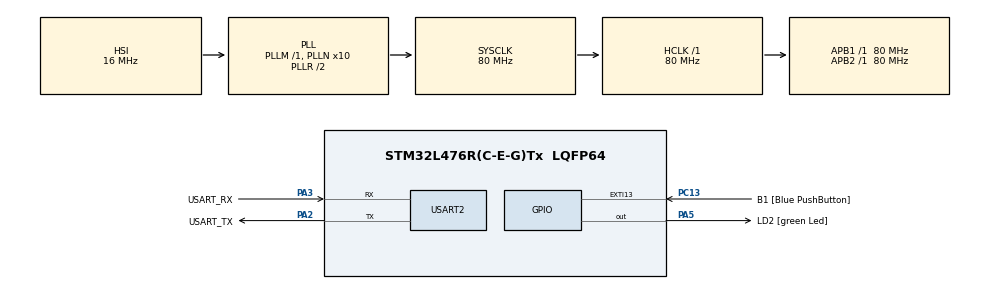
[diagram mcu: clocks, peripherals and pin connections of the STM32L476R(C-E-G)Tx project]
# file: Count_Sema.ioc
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FREERTOS.Tasks01=defaultTask,0,128,StartDefaultTask,Default,NULL,Dynamic,NULL,NULL
FREERTOS.configUSE_COUNTING_SEMAPHORES=1
FREERTOS.configUSE_NEWLIB_REENTRANT=1
FREERTOS.configUSE_RECURSIVE_MUTEXES=1
Mcu.Family=STM32L4
Mcu.Name=STM32L476R(C-E-G)Tx
Mcu.Package=LQFP64
NVIC.PriorityGroup=NVIC_PRIORITYGROUP_4
NVIC.TIM1_UP_TIM16_IRQn=true\:15\:0\:false\:false\:true\:false\:false\:true\:true
NVIC.TimeBase=TIM1_UP_TIM16_IRQn
NVIC.TimeBaseIP=TIM1
NVIC.USART2_IRQn=true\:5\:0\:false\:false\:true\:true\:true\:true\:true
PA13\ (JTMS-SWDIO).GPIO_Label=TMS
PA13\ (JTMS-SWDIO).Mode=Serial_Wire
PA13\ (JTMS-SWDIO).Signal=SYS_JTMS-SWDIO
PA14\ (JTCK-SWCLK).GPIO_Label=TCK
PA14\ (JTCK-SWCLK).Mode=Serial_Wire
PA14\ (JTCK-SWCLK).Signal=SYS_JTCK-SWCLK
PA2.GPIO_Label=USART_TX
PA2.GPIO_Mode=GPIO_MODE_AF_PP
PA2.GPIO_PuPd=GPIO_NOPULL
PA2.GPIO_Speed=GPIO_SPEED_FREQ_VERY_HIGH
PA2.Mode=Asynchronous
PA2.Signal=USART2_TX
PA3.GPIO_Label=USART_RX
PA3.GPIO_Mode=GPIO_MODE_AF_PP
PA3.GPIO_PuPd=GPIO_NOPULL
PA3.GPIO_Speed=GPIO_SPEED_FREQ_VERY_HIGH
PA3.Mode=Asynchronous
PA3.Signal=USART2_RX
PA5.GPIO_Label=LD2 [green Led]
PA5.GPIO_ModeDefaultOutputPP=GPIO_MODE_OUTPUT_PP
PA5.GPIO_PuPd=GPIO_NOPULL
PA5.GPIO_Speed=GPIO_SPEED_FREQ_LOW
PA5.Signal=GPIO_Output
PB3\ (JTDO-TRACESWO).GPIO_Label=SWO
PB3\ (JTDO-TRACESWO).Signal=SYS_JTDO-SWO
PC13.GPIO_Label=B1 [Blue PushButton]
PC13.GPIO_ModeDefaultEXTI=GPIO_MODE_IT_FALLING
PC13.GPIO_PuPd=GPIO_NOPULL
PC13.Signal=GPXTI13
PC14-OSC32_IN\ (PC14).Mode=LSE-External-Oscillator
PC14-OSC32_IN\ (PC14).Signal=RCC_OSC32_IN
PC15-OSC32_OUT\ (PC15).Mode=LSE-External-Oscillator
PC15-OSC32_OUT\ (PC15).Signal=RCC_OSC32_OUT
PH0-OSC_IN\ (PH0).Signal=RCC_OSC_IN
PH1-OSC_OUT\ (PH1).Signal=RCC_OSC_OUT
ProjectManager.HeapSize=0x200
ProjectManager.StackSize=0x400
ProjectManager.TargetToolchain=STM32CubeIDE
RCC.ADCFreq_Value=64000000
RCC.AHBFreq_Value=80000000
RCC.APB1Freq_Value=80000000
RCC.APB1TimFreq_Value=80000000
RCC.APB2Freq_Value=80000000
RCC.APB2TimFreq_Value=80000000
RCC.CortexFreq_Value=80000000
RCC.HCLKFreq_Value=80000000
RCC.HSE_VALUE=8000000
RCC.HSI_VALUE=16000000
RCC.MSI_VALUE=4000000
RCC.PLLN=10
RCC.PLLSourceVirtual=RCC_PLLSOURCE_HSI
RCC.PREFETCH_ENABLE=1
RCC.SYSCLKFreq_VALUE=80000000
RCC.SYSCLKSource=RCC_SYSCLKSOURCE_PLLCLK
RCC.USBFreq_Value=64000000
RCC.VCOOutputFreq_Value=160000000
USART2.VirtualMode-Asynchronous=VM_ASYNC
VP_FREERTOS_VS_CMSIS_V1.Mode=CMSIS_V1
VP_SYS_VS_tim1.Mode=TIM1
board=NUCLEO-L476RG

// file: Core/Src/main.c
/* USER CODE BEGIN Header */
/**
 ******************************************************************************
 * @file           : main.c
 * @brief          : Main program body
 ******************************************************************************
 * @attention
 *
 * Copyright (c) 2025 STMicroelectronics.
 * All rights reserved.
 *
 * This software is licensed under terms that can be found in the LICENSE file
 * in the root directory of this software component.
 * If no LICENSE file comes with this software, it is provided AS-IS.
 *
 ******************************************************************************
 */
/* USER CODE END Header */
#include "main.h"
//#include "cmsis_os.h"

/* USER CODE BEGIN Includes */
#include "FreeRTOS.h"
#include "task.h"
#include "timers.h"
#include "queue.h"
#include "semphr.h"
#include "event_groups.h"

#include "stdlib.h"
#include "string.h"
/* USER CODE END Includes */

UART_HandleTypeDef huart2;

//osThreadId defaultTaskHandle;

void SystemClock_Config(void);
static void MX_GPIO_Init(void);
static void MX_USART2_UART_Init(void);
//void StartDefaultTask(void const * argument);

/* USER CODE BEGIN 0 */
TaskHandle_t HPThandler;
void HPT_Task(void *pvParameters);

TaskHandle_t MPThandler;
void MPT_Task(void *pvParameters);

TaskHandle_t LPThandler;
void LPT_Task(void *pvParameters);

TaskHandle_t VLPThandler;
void VLPT_Task(void *pvParameters);

// semaphore
SemaphoreHandle_t count_sema;

// variables
int resource[5] = {111,222,333,444,555};
int idx = 0;
uint8_t rx_data = 0;

/* USER CODE END 0 */

int main(void)
{

  /* MCU Configuration--------------------------------------------------------*/

  /* Reset of all peripherals, Initializes the Flash interface and the Systick. */
  HAL_Init();

  /* Configure the system clock */
  SystemClock_Config();

  /* Initialize all configured peripherals */
  MX_GPIO_Init();
  MX_USART2_UART_Init();
  /* USER CODE BEGIN 2 */
  // create counting semaphore
  count_sema = xSemaphoreCreateCounting(5,0);
  if (count_sema == NULL) HAL_UART_Transmit(&huart2, (uint8_t *) "Unable to create semaphore\n\n", 30, 300);
  else HAL_UART_Transmit(&huart2, (uint8_t *) "Create semaphore successful\n\n", 30, 300);

  // create task
  xTaskCreate(HPT_Task, "HPT", 128, NULL, 4, &HPThandler);
  xTaskCreate(MPT_Task, "MPT", 128, NULL, 3, &MPThandler);
  xTaskCreate(LPT_Task, "LPT", 128, NULL, 2, &LPThandler);
  xTaskCreate(VLPT_Task, "VLPT", 128, NULL, 1, &VLPThandler);

  vTaskStartScheduler();

  /* USER CODE END 2 */

  /* Create the thread(s) */
  /* definition and creation of defaultTask */
//  osThreadDef(defaultTask, StartDefaultTask, osPriorityNormal, 0, 128);
//  defaultTaskHandle = osThreadCreate(osThread(defaultTask), NULL);

  /* Start scheduler */
//  osKernelStart();

  /* We should never get here as control is now taken by the scheduler */

  /* Infinite loop */
	while (1)
	{

	}
}

void SystemClock_Config(void)
{
  RCC_OscInitTypeDef RCC_OscInitStruct = {0};
  RCC_ClkInitTypeDef RCC_ClkInitStruct = {0};

  /** Configure the main internal regulator output voltage
  */
  if (HAL_PWREx_ControlVoltageScaling(PWR_REGULATOR_VOLTAGE_SCALE1) != HAL_OK)
  {
    Error_Handler();
  }

  /** Initializes the RCC Oscillators according to the specified parameters
  * in the RCC_OscInitTypeDef structure.
  */
  RCC_OscInitStruct.OscillatorType = RCC_OSCILLATORTYPE_HSI;
  RCC_OscInitStruct.HSIState = RCC_HSI_ON;
  RCC_OscInitStruct.HSICalibrationValue = RCC_HSICALIBRATION_DEFAULT;
  RCC_OscInitStruct.PLL.PLLState = RCC_PLL_ON;
  RCC_OscInitStruct.PLL.PLLSource = RCC_PLLSOURCE_HSI;
  RCC_OscInitStruct.PLL.PLLM = 1;
  RCC_OscInitStruct.PLL.PLLN = 10;
  RCC_OscInitStruct.PLL.PLLP = RCC_PLLP_DIV7;
  RCC_OscInitStruct.PLL.PLLQ = RCC_PLLQ_DIV2;
  RCC_OscInitStruct.PLL.PLLR = RCC_PLLR_DIV2;
  if (HAL_RCC_OscConfig(&RCC_OscInitStruct) != HAL_OK)
  {
    Error_Handler();
  }

  /** Initializes the CPU, AHB and APB buses clocks
  */
  RCC_ClkInitStruct.ClockType = RCC_CLOCKTYPE_HCLK|RCC_CLOCKTYPE_SYSCLK
                              |RCC_CLOCKTYPE_PCLK1|RCC_CLOCKTYPE_PCLK2;
  RCC_ClkInitStruct.SYSCLKSource = RCC_SYSCLKSOURCE_PLLCLK;
  RCC_ClkInitStruct.AHBCLKDivider = RCC_SYSCLK_DIV1;
  RCC_ClkInitStruct.APB1CLKDivider = RCC_HCLK_DIV1;
  RCC_ClkInitStruct.APB2CLKDivider = RCC_HCLK_DIV1;

  if (HAL_RCC_ClockConfig(&RCC_ClkInitStruct, FLASH_LATENCY_4) != HAL_OK)
  {
    Error_Handler();
  }
}

static void MX_USART2_UART_Init(void)
{

  huart2.Instance = USART2;
  huart2.Init.BaudRate = 115200;
  huart2.Init.WordLength = UART_WORDLENGTH_8B;
  huart2.Init.StopBits = UART_STOPBITS_1;
  huart2.Init.Parity = UART_PARITY_NONE;
  huart2.Init.Mode = UART_MODE_TX_RX;
  huart2.Init.HwFlowCtl = UART_HWCONTROL_NONE;
  huart2.Init.OverSampling = UART_OVERSAMPLING_16;
  huart2.Init.OneBitSampling = UART_ONE_BIT_SAMPLE_DISABLE;
  huart2.AdvancedInit.AdvFeatureInit = UART_ADVFEATURE_NO_INIT;
  if (HAL_UART_Init(&huart2) != HAL_OK)
  {
    Error_Handler();
  }

}

static void MX_GPIO_Init(void)
{
  GPIO_InitTypeDef GPIO_InitStruct = {0};

  /* GPIO Ports Clock Enable */
  __HAL_RCC_GPIOC_CLK_ENABLE();
  __HAL_RCC_GPIOH_CLK_ENABLE();
  __HAL_RCC_GPIOA_CLK_ENABLE();
  __HAL_RCC_GPIOB_CLK_ENABLE();

  /*Configure GPIO pin Output Level */
  HAL_GPIO_WritePin(LD2_GPIO_Port, LD2_Pin, GPIO_PIN_RESET);

  /*Configure GPIO pin : B1_Pin */
  GPIO_InitStruct.Pin = B1_Pin;
  GPIO_InitStruct.Mode = GPIO_MODE_IT_FALLING;
  GPIO_InitStruct.Pull = GPIO_NOPULL;
  HAL_GPIO_Init(B1_GPIO_Port, &GPIO_InitStruct);

  /*Configure GPIO pin : LD2_Pin */
  GPIO_InitStruct.Pin = LD2_Pin;
  GPIO_InitStruct.Mode = GPIO_MODE_OUTPUT_PP;
  GPIO_InitStruct.Pull = GPIO_NOPULL;
  GPIO_InitStruct.Speed = GPIO_SPEED_FREQ_LOW;
  HAL_GPIO_Init(LD2_GPIO_Port, &GPIO_InitStruct);

}

/* USER CODE BEGIN 4 */
void HPT_Task(void *pvParameters)
{
	char sresource[3];

	// give 3 semaphore in the first run of task
	xSemaphoreGive(count_sema);
	xSemaphoreGive(count_sema);
	xSemaphoreGive(count_sema);
	xSemaphoreGive(count_sema);
	xSemaphoreGive(count_sema);
    for (;;)
    {
        // Task code here
    	char str[150];
    	strcpy(str,"Enter HPT Task\n About to acquire the semaphore\n\n");
    	HAL_UART_Transmit(&huart2, (uint8_t *) str, strlen(str), HAL_MAX_DELAY);

    	xSemaphoreTake(count_sema, portMAX_DELAY);

    	itoa(resource[idx], sresource, 10);
    	strcpy(str,"Leaving HPT Task\n Data accessed is::");
    	strcat(str, sresource);
    	strcat(str, "\n Not releasing the semaphore\n\n\n");
    	HAL_UART_Transmit(&huart2, (uint8_t *) str, strlen(str), HAL_MAX_DELAY);

    	idx++;
    	if (idx>4) idx = 0;

    	vTaskDelay(pdMS_TO_TICKS(3000));
    }
}

void MPT_Task(void *pvParameters)
{
	char sresource[3];
    for (;;)
    {
        // Task code here
    	char str[150];
    	strcpy(str,"Enter MPT Task\n About to acquire the semaphore\n\n");
    	HAL_UART_Transmit(&huart2, (uint8_t *) str, strlen(str), HAL_MAX_DELAY);

    	xSemaphoreTake(count_sema, portMAX_DELAY);

    	itoa(resource[idx], sresource, 10);
    	strcpy(str,"Leaving MPT Task\n Data accessed is::");
    	strcat(str, sresource);
    	strcat(str, "\n Not releasing the semaphore\n\n\n");
    	HAL_UART_Transmit(&huart2, (uint8_t *) str, strlen(str), HAL_MAX_DELAY);

    	idx++;
    	if (idx>4) idx = 0;

        vTaskDelay(pdMS_TO_TICKS(2000));
    }
}

void LPT_Task(void *pvParameters)
{
	char sresource[3];
	for (;;)
	{
		// Task code here
		char str[150];
		strcpy(str,"Enter LPT Task\n About to acquire the semaphore\n\n");
		HAL_UART_Transmit(&huart2, (uint8_t *) str, strlen(str), HAL_MAX_DELAY);

		xSemaphoreTake(count_sema, portMAX_DELAY);

		itoa(resource[idx], sresource, 10);
		strcpy(str,"Leaving LPT Task\n Data accessed is::");
		strcat(str, sresource);
		strcat(str, "\n Not releasing the semaphore\n\n\n");
		HAL_UART_Transmit(&huart2, (uint8_t *) str, strlen(str), HAL_MAX_DELAY);

		idx++;
		if (idx>4) idx = 0;

		vTaskDelay(pdMS_TO_TICKS(1000));
	}
}

void VLPT_Task(void *pvParameters)
{
	char sresource[3];
	for (;;)
	{
		// Task code here
		char str[150];
		strcpy(str,"Enter VLPT Task\n About to acquire the semaphore\n\n");
		HAL_UART_Transmit(&huart2, (uint8_t *) str, strlen(str), HAL_MAX_DELAY);

		xSemaphoreTake(count_sema, portMAX_DELAY);

		itoa(resource[idx], sresource, 10);
		strcpy(str,"Leaving VLPT Task\n Data accessed is::");
		strcat(str, sresource);
		strcat(str, "\n Not releasing the semaphore\n\n\n");
		HAL_UART_Transmit(&huart2, (uint8_t *) str, strlen(str), HAL_MAX_DELAY);

		idx++;
		if (idx>4) idx = 0;

		vTaskDelay(pdMS_TO_TICKS(3000));
	}
}

/* USER CODE END 4 */

//void StartDefaultTask(void const * argument)
//{
//  /* USER CODE BEGIN 5 */
//////	/* Infinite loop */
//////	for(;;)
//////	{
//////		osDelay(1);
//////	}
//  /* USER CODE END 5 */
//}

void HAL_TIM_PeriodElapsedCallback(TIM_HandleTypeDef *htim)
{
  if (htim->Instance == TIM1)
  {
    HAL_IncTick();
  }
}

void Error_Handler(void)
{
	__disable_irq();
	while (1)
	{
	}
}
